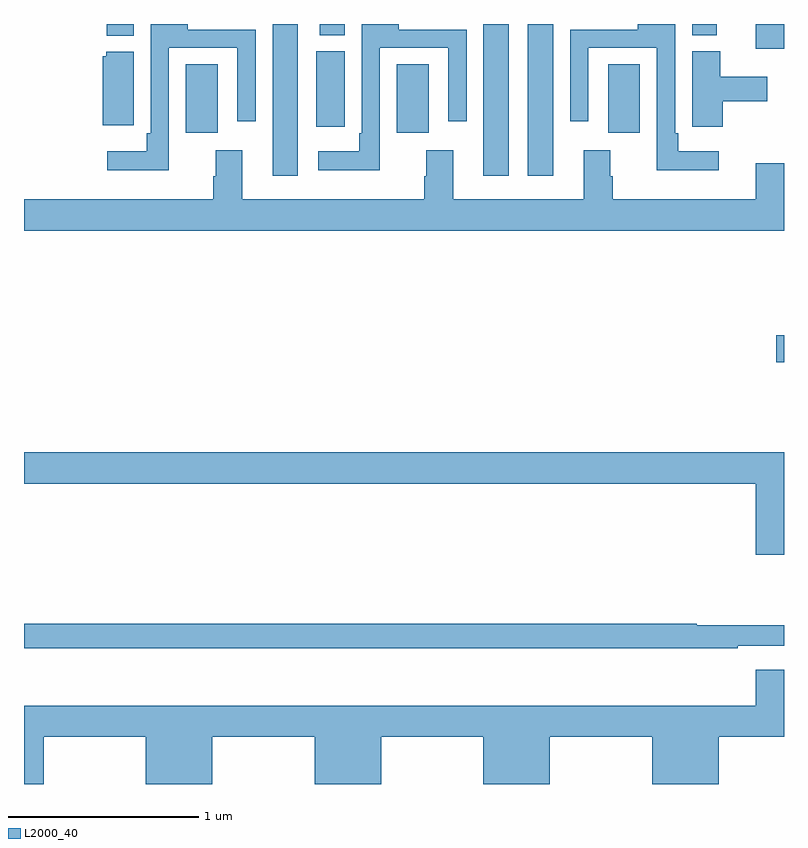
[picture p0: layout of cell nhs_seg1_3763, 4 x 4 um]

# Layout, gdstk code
import gdstk
lib = gdstk.Library(unit=1e-6, precision=1e-09)
def R(c, l, rs):  # rectangles x0, y0, x1, y1
    for r in rs: c.add(gdstk.rectangle(r[:2], r[2:], *l))
def P(c, l, *ps):  # polygons
    for p in ps: c.add(gdstk.Polygon(p, *l))
L2000_40 = (2000, 40)

nhs_seg1_3763 = lib.new_cell('nhs_seg1_3763')
R(nhs_seg1_3763, L2000_40, [(320.958,504.418,321,504.56), (318.308,505.401,318.442,506.199), (319.418,505.401,319.552,506.199), (319.652,505.401,319.786,506.199), (317.852,505.626,318.019,505.988), (318.962,505.626,319.129,505.988), (320.075,505.626,320.242,505.988), (318.539,505.659,318.688,506.055), (320.852,506.07,321,506.199), (317.435,506.138,317.578,506.199), (318.557,506.14,318.688,506.199), (320.516,506.14,320.647,506.199)])
P(nhs_seg1_3763, L2000_40, [(318.873,506.073),(319.233,506.073),(319.233,505.686),(319.329,505.686),(319.329,506.169),(318.973,506.169),(318.973,506.199),(318.777,506.199),(318.777,505.624),(318.765,505.624),(318.765,505.528),(318.549,505.528),(318.549,505.43),(318.873,505.43)],
  [(317.763,506.073),(318.123,506.073),(318.123,505.686),(318.219,505.686),(318.219,506.169),(317.863,506.169),(317.863,506.199),(317.667,506.199),(317.667,505.624),(317.647,505.624),(317.647,505.528),(317.439,505.528),(317.439,505.43),(317.763,505.43)],
  [(320.656,505.528),(320.443,505.528),(320.443,505.624),(320.427,505.624),(320.427,506.199),(320.231,506.199),(320.231,506.169),(319.875,506.169),(319.875,505.686),(319.971,505.686),(319.971,506.073),(320.331,506.073),(320.331,505.43),(320.656,505.43)],
  [(320.678,505.792),(320.911,505.792),(320.911,505.921),(320.665,505.921),(320.665,506.055),(320.516,506.055),(320.516,505.771),(320.517,505.771),(320.517,505.659),(320.678,505.659)],
  [(317.578,506.053),(317.433,506.053),(317.433,506.028),(317.414,506.028),(317.414,505.667),(317.578,505.667)],
  [(321,505.465),(320.852,505.465),(320.852,505.276),(320.099,505.276),(320.099,505.397),(320.086,505.397),(320.086,505.534),(319.946,505.534),(319.946,505.276),(319.258,505.276),(319.258,505.534),(319.118,505.534),(319.118,505.397),(319.106,505.397),(319.106,505.276),(318.148,505.276),(318.148,505.534),(318.008,505.534),(318.008,505.397),(317.996,505.397),(317.996,505.276),(317,505.276),(317,505.112),(321,505.112)],
  [(321,503.944),(317,503.944),(317,503.78),(320.852,503.78),(320.852,503.406),(321,503.406)],
  [(320.756,502.926),(321,502.926),(321,503.035),(320.542,503.035),(320.542,503.042),(317,503.042),(317,502.914),(320.756,502.914)],
  [(317.104,502.448),(317.642,502.448),(317.642,502.199),(317.992,502.199),(317.992,502.448),(318.53,502.448),(318.53,502.199),(318.88,502.199),(318.88,502.448),(319.418,502.448),(319.418,502.199),(319.768,502.199),(319.768,502.448),(320.306,502.448),(320.306,502.199),(320.656,502.199),(320.656,502.448),(321,502.448),(321,502.801),(320.852,502.801),(320.852,502.612),(317,502.612),(317,502.199),(317.104,502.199)])

lib.write_gds('nhs_seg1_3763.gds')
